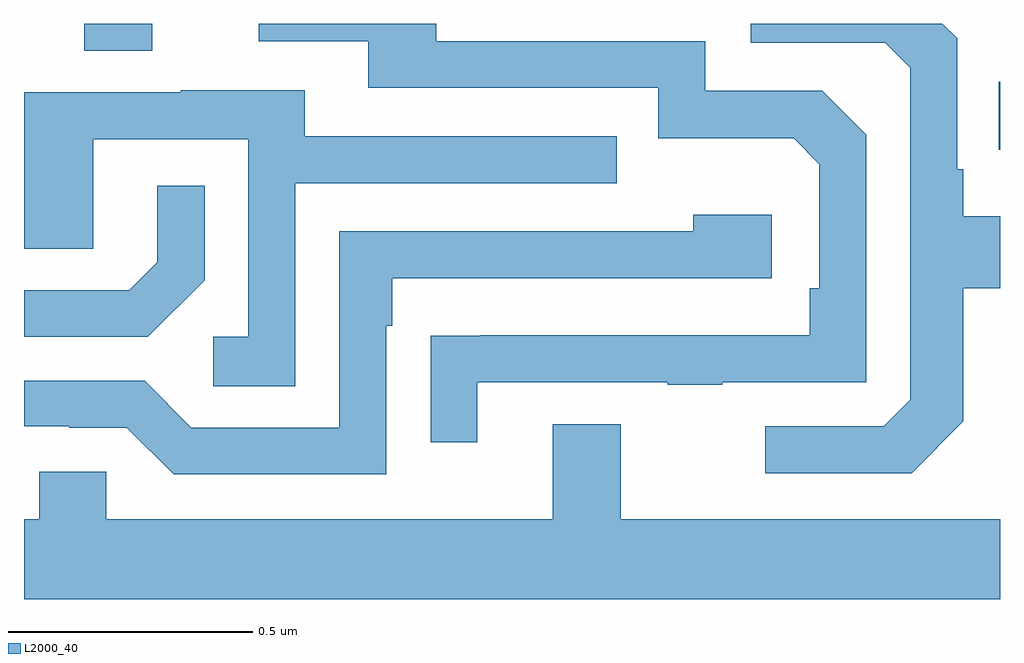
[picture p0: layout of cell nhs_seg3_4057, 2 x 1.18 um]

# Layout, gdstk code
import gdstk
lib = gdstk.Library(unit=1e-6, precision=1e-09)
def R(c, l, rs):  # rectangles x0, y0, x1, y1
    for r in rs: c.add(gdstk.rectangle(r[:2], r[2:], *l))
def P(c, l, *ps):  # polygons
    for p in ps: c.add(gdstk.Polygon(p, *l))
L2000_40 = (2000, 40)

nhs_seg3_4057 = lib.new_cell('nhs_seg3_4057')
R(nhs_seg3_4057, L2000_40, [(162.997,731.141,163,731.281), (161.123,731.344,161.263,731.4)])
P(nhs_seg3_4057, L2000_40, [(162.925,730.585),(162.925,730.858),(163,730.858),(163,731.005),(162.925,731.005),(162.925,731.101),(162.912,731.101),(162.912,731.37),(162.882,731.4),(162.489,731.4),(162.489,731.361),(162.765,731.361),(162.816,731.31),(162.816,730.629),(162.762,730.575),(162.519,730.575),(162.519,730.479),(162.819,730.479)],
  [(161.929,730.665),(162.319,730.665),(162.319,730.66),(162.431,730.66),(162.431,730.665),(162.726,730.665),(162.726,731.172),(162.636,731.262),(162.396,731.262),(162.396,731.364),(161.845,731.364),(161.845,731.4),(161.481,731.4),(161.481,731.364),(161.705,731.364),(161.705,731.268),(162.3,731.268),(162.3,731.165),(162.577,731.165),(162.63,731.112),(162.63,730.858),(162.61,730.858),(162.61,730.761),(161.935,730.761),(161.935,730.76),(161.833,730.76),(161.833,730.542),(161.929,730.542)],
  [(161.556,731.073),(162.215,731.073),(162.215,731.169),(161.575,731.169),(161.575,731.263),(161.321,731.263),(161.321,731.259),(161,731.259),(161,730.939),(161.142,730.939),(161.142,731.163),(161.46,731.163),(161.46,730.758),(161.388,730.758),(161.388,730.657),(161.556,730.657)],
  [(161.37,730.874),(161.37,731.068),(161.273,731.068),(161.273,730.911),(161.216,730.854),(161,730.854),(161,730.758),(161.254,730.758)],
  [(161.742,730.781),(161.755,730.781),(161.755,730.878),(162.532,730.878),(162.532,731.008),(162.371,731.008),(162.371,730.974),(161.646,730.974),(161.646,730.572),(161.343,730.572),(161.247,730.668),(161,730.668),(161,730.575),(161.093,730.575),(161.093,730.572),(161.211,730.572),(161.307,730.476),(161.742,730.476)],
  [(163,730.384),(162.223,730.384),(162.223,730.579),(162.083,730.579),(162.083,730.384),(161.169,730.384),(161.169,730.482),(161.031,730.482),(161.031,730.384),(161,730.384),(161,730.22),(163,730.22)])

lib.write_gds('nhs_seg3_4057.gds')
